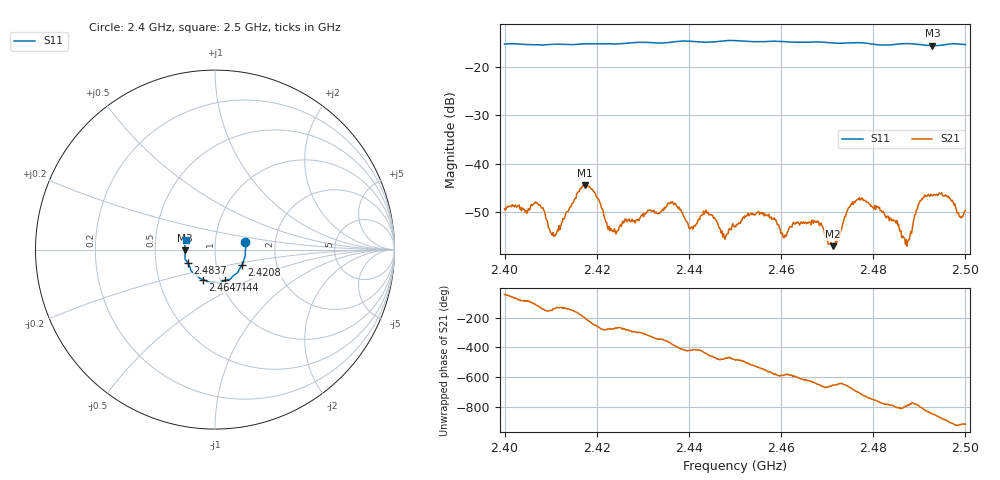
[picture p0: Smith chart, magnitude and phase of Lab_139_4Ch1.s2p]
# Hz S RI R 50
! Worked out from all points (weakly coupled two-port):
!   601 points, 2.4 GHz to 2.5 GHz, reference 50 ohm
!   highest |S21| = -44.33 dB at 2.4175 GHz (marker M1); lowest = -57.0 dB at 2.4712 GHz (marker M2)
!   lowest |S11| = -15.6 dB at 2.4928 GHz (marker M3), VSWR 1.40, Z = 35.8 - j0.352 ohm
!   |S11| at or under -10 dB: start of sweep to end of sweep
!   S12 and S22 are empty: the file has one direction only
!   S11 on the Smith chart (normalised r, x): 2.4 GHz: 1.40, +0.12; 2.4208 GHz: 1.33, -0.24; 2.444 GHz: 1.06, -0.37; 2.4647 GHz: 0.83, -0.29; 2.4837 GHz: 0.73, -0.11; 2.5 GHz: 0.72, +0.08
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2.4e9  0.1675 0.0412  0.00243 -0.00244  0 0  0 0
2.407167e9  0.1694 -0.0108  -0.00203 -0.00334  0 0  0 0
2.410667e9  0.1689 -0.0314  -0.00135 -0.00117  0 0  0 0
2.416667e9  0.159 -0.0682  -0.00559 0.000511  0 0  0 0
2.4175e9  0.1572 -0.0735  -0.00555 0.00246  0 0  0 0
2.420833e9  0.1506 -0.0869  0.000218 0.0038  0 0  0 0
2.423833e9  0.1403 -0.1016  0.000202 0.00213  0 0  0 0
2.433333e9  0.1078 -0.1404  0.00296 0.00087  0 0  0 0
2.4405e9  0.0798 -0.1663  0.00118 -0.00187  0 0  0 0
2.444e9  0.0581 -0.1709  0.000176 -0.0031  0 0  0 0
2.4475e9  0.0352 -0.1828  -0.000927 -0.00166  0 0  0 0
2.45e9  0.0244 -0.186  -0.00122 -0.00191  0 0  0 0
2.464667e9  -0.0674 -0.1672  -0.000656 0.00233  0 0  0 0
2.466667e9  -0.0799 -0.1627  -0.000104 0.00262  0 0  0 0
2.471167e9  -0.0976 -0.1477  0.000563 0.0013  0 0  0 0
2.476667e9  -0.1305 -0.1217  0.00405 0.00157  0 0  0 0
2.483333e9  -0.1506 -0.0761  0.00135 -0.00254  0 0  0 0
2.483667e9  -0.1525 -0.0734  0.00109 -0.00254  0 0  0 0
2.487333e9  -0.167 -0.051  0.000457 -0.00134  0 0  0 0
2.490167e9  -0.1672 -0.0343  0.000811 -0.00408  0 0  0 0
2.492833e9  -0.166 -0.00478  -0.00286 -0.00369  0 0  0 0
2.5e9  -0.1622 0.0528  -0.00318 0.00086  0 0  0 0
